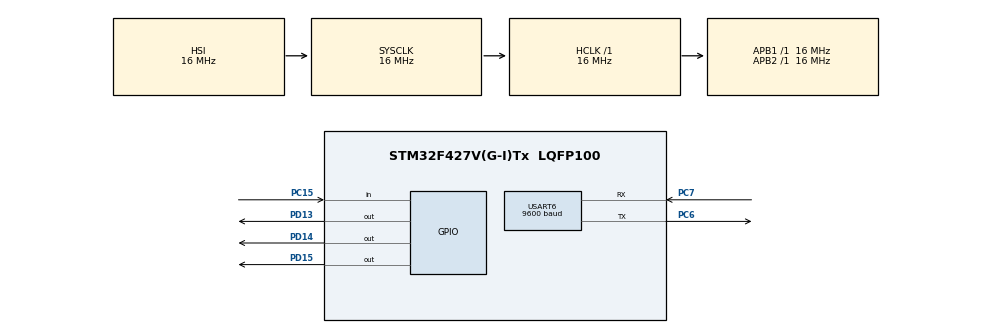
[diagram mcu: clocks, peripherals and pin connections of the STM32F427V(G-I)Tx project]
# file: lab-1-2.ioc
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Mcu.Family=STM32F4
Mcu.Name=STM32F427V(G-I)Tx
Mcu.Package=LQFP100
NVIC.PriorityGroup=NVIC_PRIORITYGROUP_4
NVIC.USART6_IRQn=true\:0\:0\:false\:false\:true\:true\:true\:true
PA13.Mode=JTAG_5_pins
PA13.Signal=SYS_JTMS-SWDIO
PA14.Mode=JTAG_5_pins
PA14.Signal=SYS_JTCK-SWCLK
PA15.Mode=JTAG_5_pins
PA15.Signal=SYS_JTDI
PB3.Mode=JTAG_5_pins
PB3.Signal=SYS_JTDO-SWO
PB4.Mode=JTAG_5_pins
PB4.Signal=SYS_JTRST
PC15/OSC32_OUT.Signal=GPIO_Input
PC6.Mode=Asynchronous
PC6.Signal=USART6_TX
PC7.Mode=Asynchronous
PC7.Signal=USART6_RX
PD13.Signal=GPIO_Output
PD14.Signal=GPIO_Output
PD15.Signal=GPIO_Output
ProjectManager.HeapSize=0x200
ProjectManager.StackSize=0x400
ProjectManager.TargetToolchain=STM32CubeIDE
RCC.AHBFreq_Value=16000000
RCC.APB1Freq_Value=16000000
RCC.APB2Freq_Value=16000000
RCC.CortexFreq_Value=16000000
RCC.HSE_VALUE=25000000
RCC.HSI_VALUE=16000000
RCC.LSE_VALUE=32768
RCC.SYSCLKFreq_VALUE=16000000
RCC.VCOOutputFreq_Value=192000000
USART6.BaudRate=9600
USART6.VirtualMode=VM_ASYNC
board=custom

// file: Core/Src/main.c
/* USER CODE BEGIN Header */
/**
  ******************************************************************************
  * @file           : main.c
  * @brief          : Main program body
  ******************************************************************************
  * @attention
  *
  * <h2><center>&copy; Copyright (c) 2021 STMicroelectronics.
  * All rights reserved.</center></h2>
  *
  * This software component is licensed by ST under BSD 3-Clause license,
  * the "License"; You may not use this file except in compliance with the
  * License. You may obtain a copy of the License at:
  *                        opensource.org/licenses/BSD-3-Clause
  *
  ******************************************************************************
  */
/* USER CODE END Header */
#include "main.h"
#include "usart.h"
#include "gpio.h"

/* USER CODE BEGIN Includes */

#define LAB_N 2
#if LAB_N == 1
	#include "lab1/lab1.h"
#elif LAB_N == 2
    #include "lab2/lab2.h"
#endif

/* USER CODE END Includes */

/* USER CODE BEGIN PM */

#if LAB_N == 2
    // Callback при завершении приема одного байта
    void HAL_UART_RxCpltCallback(UART_HandleTypeDef *huart) {
        if (huart == &huart6) {
            // Добавляем принятый байт в RX буфер
            rx_buffer_put(&uart.rx_buffer, uart.rx_byte);
            // Запускаем прием следующего байта
            HAL_UART_Receive_IT(&huart6, (uint8_t*)&uart.rx_byte, 1);
        }
    }

    // Callback при завершении передачи одного байта
    void HAL_UART_TxCpltCallback(UART_HandleTypeDef *huart) {
        if (huart == &huart6) {
            uart.is_transmitting = false;
            // Запускаем передачу следующего байта из буфера
            uart_start_tx();
        }
    }
#endif
/* USER CODE END PM */

void SystemClock_Config(void);

int main(void)
{

  /* MCU Configuration--------------------------------------------------------*/

  /* Reset of all peripherals, Initializes the Flash interface and the Systick. */
  HAL_Init();

  /* Configure the system clock */
  SystemClock_Config();

  /* Initialize all configured peripherals */
  MX_GPIO_Init();
  MX_USART6_UART_Init();
  /* USER CODE BEGIN 2 */

  #if LAB_N == 2
    // Инициализация буферов UART
    tx_buffer_init(&uart.tx_buffer);
    rx_buffer_init(&uart.rx_buffer);
  #endif

  /* USER CODE END 2 */

  /* Infinite loop */
  /* USER CODE BEGIN WHILE */
    while (1) {
        #if LAB_N == 1
            lab1_while_func();
        #elif LAB_N == 2
            lab2_while_func();
        #endif
    /* USER CODE END WHILE */

    }
}

void SystemClock_Config(void)
{
  RCC_OscInitTypeDef RCC_OscInitStruct = {0};
  RCC_ClkInitTypeDef RCC_ClkInitStruct = {0};

  /** Configure the main internal regulator output voltage
  */
  __HAL_RCC_PWR_CLK_ENABLE();
  __HAL_PWR_VOLTAGESCALING_CONFIG(PWR_REGULATOR_VOLTAGE_SCALE3);

  /** Initializes the RCC Oscillators according to the specified parameters
  * in the RCC_OscInitTypeDef structure.
  */
  RCC_OscInitStruct.OscillatorType = RCC_OSCILLATORTYPE_HSI;
  RCC_OscInitStruct.HSIState = RCC_HSI_ON;
  RCC_OscInitStruct.HSICalibrationValue = RCC_HSICALIBRATION_DEFAULT;
  RCC_OscInitStruct.PLL.PLLState = RCC_PLL_NONE;
  if (HAL_RCC_OscConfig(&RCC_OscInitStruct) != HAL_OK)
  {
    Error_Handler();
  }

  /** Initializes the CPU, AHB and APB buses clocks
  */
  RCC_ClkInitStruct.ClockType = RCC_CLOCKTYPE_HCLK|RCC_CLOCKTYPE_SYSCLK
                              |RCC_CLOCKTYPE_PCLK1|RCC_CLOCKTYPE_PCLK2;
  RCC_ClkInitStruct.SYSCLKSource = RCC_SYSCLKSOURCE_HSI;
  RCC_ClkInitStruct.AHBCLKDivider = RCC_SYSCLK_DIV1;
  RCC_ClkInitStruct.APB1CLKDivider = RCC_HCLK_DIV1;
  RCC_ClkInitStruct.APB2CLKDivider = RCC_HCLK_DIV1;

  if (HAL_RCC_ClockConfig(&RCC_ClkInitStruct, FLASH_LATENCY_0) != HAL_OK)
  {
    Error_Handler();
  }
}

void Error_Handler(void)
{
}
